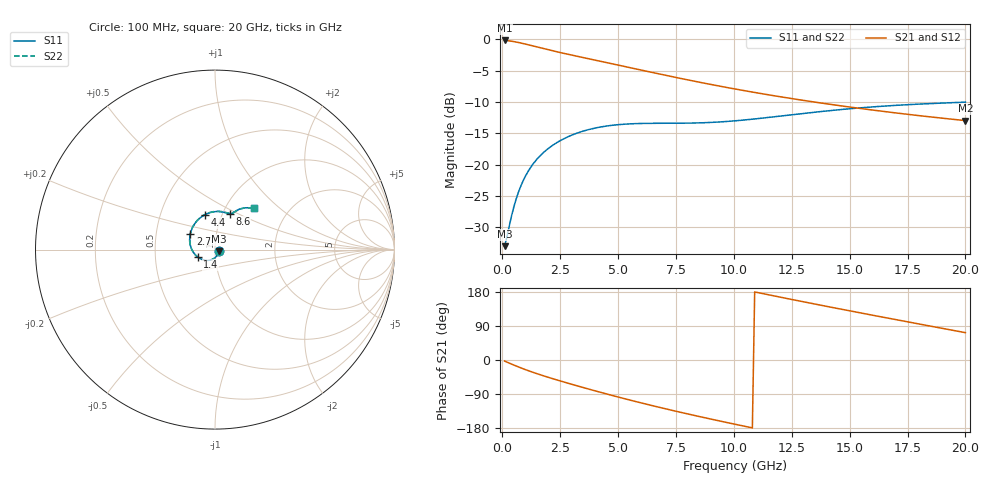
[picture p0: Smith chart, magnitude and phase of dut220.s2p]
! Touchstone file exported from HFSS 2023.1.0
!  File:  D:/Users/fzz/RDL_TSV/temp_RDL_TSV_220_1778757858.aedt
!  Generated:  7:34:18 %x4E0B%x5348  5%x6708 14, 2026
!  Design:  RDL_TSV
!  Project:  temp_RDL_TSV_220_1778757858
!  Setup:  Setup1
!  Solution:  Sweep
! Variables:
!  dtsv = 18.77um
!  hbump = 3um
!  htsv = 93.59um
!  ldown = 305.22um
!  lrdl = 690.96um
!  p = 40
!  p1 = 48.64um
!  rhole = 10um
!  subl = 3679.5um
!  t = 450um
!  tdown = 3.21um
!  trdl = 2.46um
!  viad = 10um
!  wdown = 18.38um
!  wrdl = 25.89um
!  xbump = 18um
# GHz S MA R 50.000000
! Terminal data exported
! Port[1] = TM1_1_T1
! Port[2] = TM1_4_T1
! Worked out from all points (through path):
!   200 points, 100 MHz to 20 GHz, reference 50 ohm
!   highest |S21| = -0.19 dB at 100 MHz (marker M1); lowest = -13.0 dB at 20 GHz (marker M2)
!   group delay of S21, straight-line fit = 38 ps
!   lowest |S11| = -33.0 dB at 100 MHz (marker M3), VSWR 1.05, Z = 52 - j1.02 ohm
!   |S11| at or under -10 dB: start of sweep to end of sweep
!   |S22| runs from -33.0 to -10.0 dB; largest |S21 - S12| = 1.1e-14
!   S11 on the Smith chart (normalised r, x): 100 MHz: 1.04, -0.02; 1.4 GHz: 0.82, -0.07; 2.7 GHz: 0.75, +0.13; 4.4 GHz: 0.83, +0.34; 8.6 GHz: 1.08, +0.45; 20 GHz: 1.35, +0.69
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0.1  0.02239 -25.9  0.978 -2.8  0.978 -2.8  0.02239 -25.9
! Gamma 0 0 0 0
! Port Impedance 50 0 50 0
0.5  0.04614 -90.6  0.9578 -13.4  0.9578 -13.4  0.04613 -90.7
0.7  0.06051 -109.8  0.9421 -18.4  0.9421 -18.4  0.06051 -109.9
1  0.08102 -132.7  0.9149 -25.4  0.9149 -25.4  0.08106 -132.8
1.4  0.1052 -157.1  0.8766 -34.1  0.8766 -34.1  0.1054 -157.2
2  0.1352 174.1  0.8227 -46.0  0.8227 -46.0  0.1355 173.9
2.7  0.1624 148.3  0.7684 -58.8  0.7684 -58.8  0.163 148.1
3.5  0.1854 125.7  0.714 -72.8  0.714 -72.8  0.1863 125.5
4.4  0.2019 106.4  0.658 -87.9  0.658 -87.9  0.2032 106.2
5  0.2083 96.4  0.6228 -97.7  0.6228 -97.7  0.2097 96.2
5.6  0.2119 88.3  0.5893 -107.1  0.5893 -107.1  0.2134 88.0
6.2  0.2134 81.8  0.5576 -116.3  0.5576 -116.3  0.215 81.5
6.8  0.2138 76.8  0.5279 -125.2  0.5279 -125.2  0.2154 76.4
7.7  0.214 71.4  0.4872 -138.1  0.4872 -138.1  0.2155 71.0
8.6  0.2156 68.0  0.4509 -150.4  0.4509 -150.4  0.217 67.6
10.1  0.224 64.8  0.3997 -170.2  0.3997 -170.2  0.2251 64.4
11.8  0.2414 62.1  0.3529 168.3  0.3529 168.3  0.2422 61.7
13.4  0.2609 59.2  0.3173 148.8  0.3173 148.8  0.2615 58.8
15  0.2791 55.9  0.2881 129.8  0.2881 129.8  0.2796 55.5
16.7  0.2948 52.3  0.2625 110.0  0.2625 110.0  0.2953 52.0
18.3  0.3059 49.4  0.2425 91.6  0.2425 91.6  0.3064 49.1
20  0.315 47.0  0.2246 72.2  0.2246 72.2  0.3156 46.7
